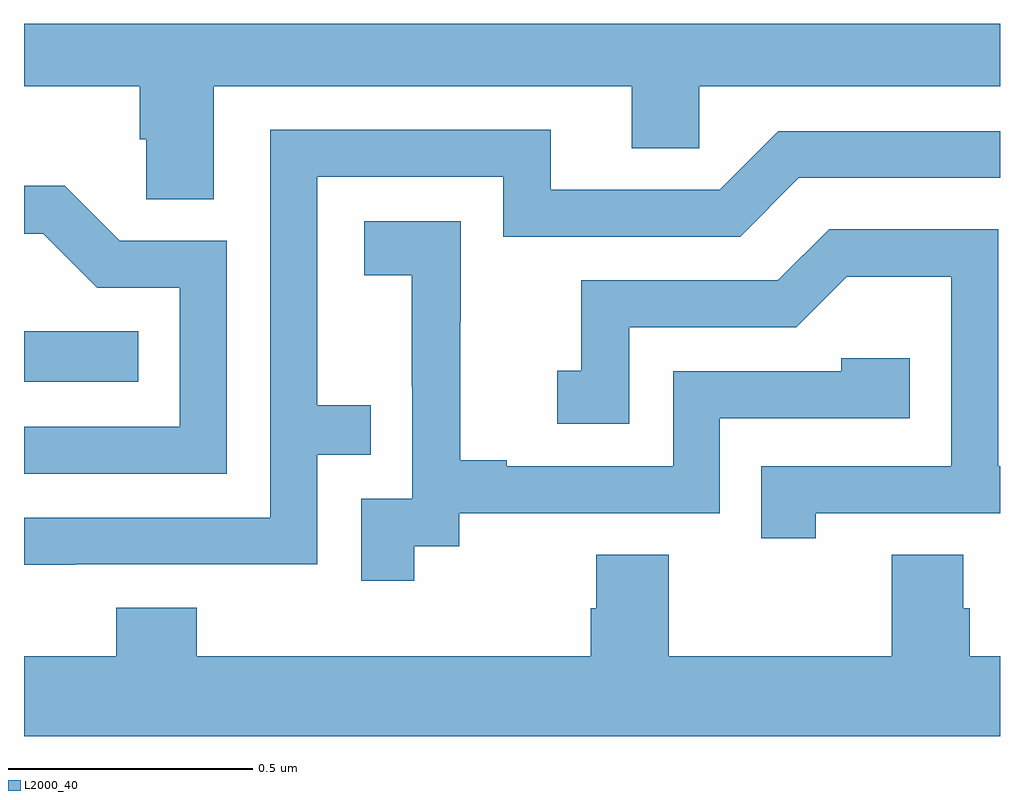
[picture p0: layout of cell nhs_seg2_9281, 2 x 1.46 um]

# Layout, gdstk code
import gdstk
lib = gdstk.Library(unit=1e-6, precision=1e-09)
def R(c, l, rs):  # rectangles x0, y0, x1, y1
    for r in rs: c.add(gdstk.rectangle(r[:2], r[2:], *l))
def P(c, l, *ps):  # polygons
    for p in ps: c.add(gdstk.Polygon(p, *l))
L2000_40 = (2000, 40)

nhs_seg2_9281 = lib.new_cell('nhs_seg2_9281')
R(nhs_seg2_9281, L2000_40, [(227,611.066,227.234,611.17)])
P(nhs_seg2_9281, L2000_40, [(227.389,611.672),(228.245,611.672),(228.245,611.545),(228.384,611.545),(228.384,611.672),(229,611.672),(229,611.8),(227,611.8),(227,611.672),(227.237,611.672),(227.237,611.563),(227.25,611.563),(227.25,611.44),(227.389,611.44)],
  [(227.105,610.692),(227.601,610.692),(227.601,610.917),(227.711,610.917),(227.711,611.018),(227.601,611.018),(227.601,611.487),(227.982,611.487),(227.982,611.364),(228.468,611.364),(228.588,611.484),(229,611.484),(229,611.58),(228.546,611.58),(228.426,611.46),(228.079,611.46),(228.079,611.583),(227.505,611.583),(227.505,610.788),(227,610.788),(227,610.691),(227.105,610.691)],
  [(227.415,611.355),(227.196,611.355),(227.083,611.468),(227,611.468),(227,611.37),(227.039,611.37),(227.15,611.259),(227.319,611.259),(227.319,610.974),(227,610.974),(227,610.878),(227.415,610.878)],
  [(227.8,610.729),(227.892,610.729),(227.892,610.797),(228.426,610.797),(228.426,610.992),(228.815,610.992),(228.815,611.115),(228.675,611.115),(228.675,611.088),(228.33,611.088),(228.33,610.893),(227.989,610.893),(227.989,610.906),(227.894,610.906),(227.894,611.189),(227.895,611.189),(227.895,611.395),(227.697,611.395),(227.697,611.285),(227.795,611.285),(227.795,611.057),(227.796,611.057),(227.796,610.827),(227.691,610.827),(227.691,610.659),(227.8,610.659)],
  [(228.622,610.797),(229,610.797),(229,610.893),(228.996,610.893),(228.996,611.379),(228.65,611.379),(228.545,611.274),(228.142,611.274),(228.142,611.089),(228.093,611.089),(228.093,610.98),(228.24,610.98),(228.24,611.178),(228.582,611.178),(228.686,611.282),(228.9,611.282),(228.9,610.893),(228.511,610.893),(228.511,610.746),(228.622,610.746)],
  [(229,610.504),(228.938,610.504),(228.938,610.602),(228.925,610.602),(228.925,610.712),(228.778,610.712),(228.778,610.504),(228.321,610.504),(228.321,610.712),(228.173,610.712),(228.173,610.602),(228.161,610.602),(228.161,610.504),(227.354,610.504),(227.354,610.603),(227.189,610.603),(227.189,610.504),(227,610.504),(227,610.34),(229,610.34)])

lib.write_gds('nhs_seg2_9281.gds')
